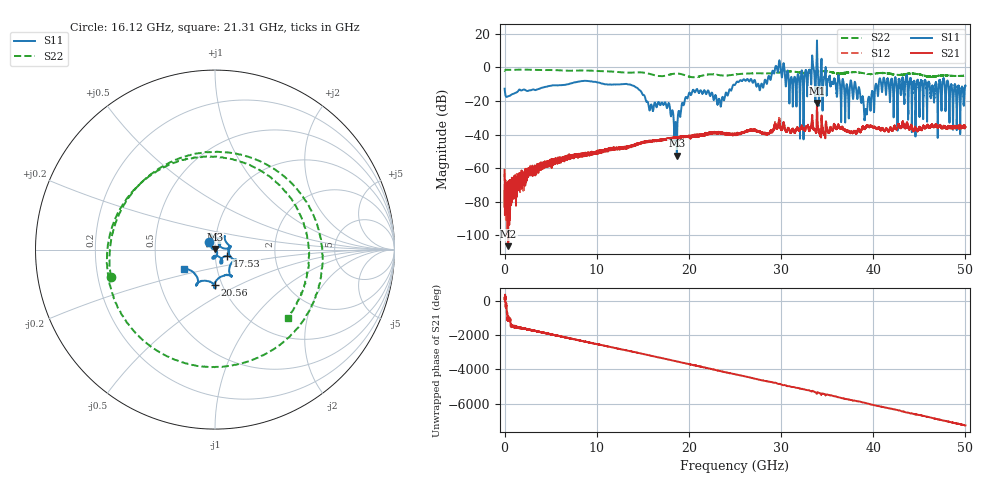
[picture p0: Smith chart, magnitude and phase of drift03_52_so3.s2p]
!Created with skrf (http://scikit-rf.org).
# Hz S RI R 50.0
!freq ReS11 ImS11 ReS21 ImS21 ReS12 ImS12 ReS22 ImS22
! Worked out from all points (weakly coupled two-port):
!   10001 points, 300 kHz to 50 GHz, reference 50 ohm
!   highest |S21| = -21.22 dB at 33.9 GHz (marker M1); lowest = -106.5 dB at 390.3 MHz (marker M2)
!   lowest |S11| = -52.6 dB at 18.69 GHz (marker M3), VSWR 1.00, Z = 49.9 + j0.206 ohm
!   |S11| at or under -10 dB: start of sweep to 6.947 GHz; 13.32 GHz to 25.05 GHz (11.72 GHz wide, 61.1 % of centre); 38.08 GHz to 40.26 GHz (2.183 GHz wide, 5.57 % of centre) (the widest 3 of 58)
!   |S22| runs from -5.9 to -1.3 dB; largest |S21 - S12| = 0.0077
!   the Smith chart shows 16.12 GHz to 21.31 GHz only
!   S11 on the Smith chart (normalised r, x): 16.12 GHz: 0.94, +0.08; 17.53 GHz: 1.14, -0.08; 20.56 GHz: 0.92, -0.38; 21.31 GHz: 0.69, -0.16
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300000  -0.2097 -0.0974  -0.000816 0.000369  0.000676 8.03e-05  -0.7657 -0.1963
3.902977e8  -0.0944 0.1005  2.76e-06 -3.86e-06  0.000243 4.12e-05  -0.5947 0.6015
1.540291e9  0.2061 0.0414  -5.17e-05 -0.000436  -6.48e-05 -0.000334  0.8497 0.0691
3.160281e9  -0.2187 -0.00859  9.99e-05 0.000958  -0.000129 0.0007  -0.8443 -0.0244
4.665272e9  0.2632 0.0614  -0.000173 -0.00137  4.38e-05 -0.00151  0.8187 0.142
6.360262e9  -0.3002 0.000968  0.000608 0.0017  0.00053 0.00161  -0.8038 -0.043
8.33525e9  0.2836 -0.2677  -0.00229 -0.000793  -0.00237 -0.00101  0.602 -0.5359
1.043024e10  -0.0429 0.3323  0.00254 -0.00192  0.00242 -0.00191  -0.0379 0.7703
1.202023e10  0.00444 -0.3092  -0.00286 0.00256  -0.00282 0.00262  0.0981 -0.7302
1.61152e10  -0.0315 0.0408  0.006 0.002  0.00608 0.00212  -0.58 -0.1514
1.66702e10  0.0541 0.0754  0.00486 -0.0048  0.00456 -0.00509  -0.3598 0.4174
1.752519e10  0.0676 -0.0345  -0.00617 -0.00393  -0.00632 -0.00385  0.4912 0.2917
1.869019e10  -0.00112 0.00206  0.00255 0.00778  0.0024 0.00758  -0.0831 -0.6482
2.055518e10  -0.0011 -0.1988  -0.00813 -0.00465  -0.00788 -0.00499  0.3596 0.3601
2.131017e10  -0.1725 -0.1096  -0.00505 0.00875  -0.00535 0.00801  0.4052 -0.3797
2.500015e10  -0.2975 -0.0482  0.00723 0.00646  0.00808 0.00618  -0.1871 -0.5827
3.051512e10  0.2386 -0.1281  -0.00216 0.0127  -0.00198 0.0127  0.7425 -0.067
3.213011e10  0.2011 0.3716  -0.000635 -0.0149  3.09e-05 -0.0147  -0.6995 0.00966
3.33351e10  0.4528 -0.996  -0.0053 0.0246  -0.00569 0.0243  0.614 0.3686
3.38951e10  -0.7516 -6.277  0.0862 0.0108  0.0846 0.00533  0.6828 -0.321
4.167005e10  -0.2185 0.284  -0.0119 -0.00489  -0.0118 -0.00499  -0.652 -0.0617
5e10  -0.1494 -0.2417  0.000329 -0.0166  0.00111 -0.0178  0.4684 -0.3123
